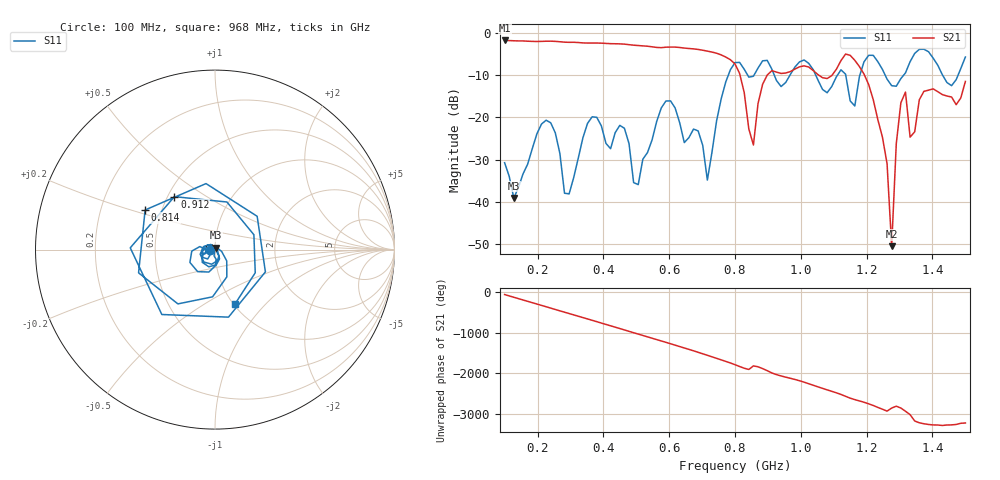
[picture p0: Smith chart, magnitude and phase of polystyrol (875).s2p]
! NanoVNA-App
! Date: 2025-09-25 15:36:41
! Start: 100MHz Stop: 1,5GHz Points: 101
! S-Parameter data: F S11 S21 S12 S22
# Hz S RI R 50
!  Frequency  S11_Real  S11_Imag  S21_Real  S21_Imag  S12_Real  S12_Imag  S22_Real  S22_Imag
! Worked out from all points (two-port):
!   101 points, 100 MHz to 1.5 GHz, reference 50 ohm
!   highest |S21| = -1.80 dB at 100 MHz (marker M1); lowest = -50.4 dB at 1.276 GHz (marker M2)
!   |S21| within 3 dB of the highest: start of sweep to 743.1 MHz
!   lowest |S11| = -39.1 dB at 128 MHz (marker M3), VSWR 1.02, Z = 50.3 + j1.06 ohm
!   |S11| at or under -10 dB: start of sweep to 779.8 MHz; 1.045 GHz to 1.111 GHz (66.07 MHz wide, 6.13 % of centre); 1.256 GHz to 1.312 GHz (56.16 MHz wide, 4.37 % of centre) (the widest 3 of 7)
!   S12 and S22 are empty: the file has one direction only
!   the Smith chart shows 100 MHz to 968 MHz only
!   S11 on the Smith chart (normalised r, x): 100 MHz: 0.94, -0.01; 814 MHz: 0.40, +0.22; 912 MHz: 0.54, +0.37; 968 MHz: 1.02, -0.69
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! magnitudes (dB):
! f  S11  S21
! 100 MHz  -30.7  -1.8
! 128 MHz  -39.1  -1.9
! 212 MHz  -21.6  -2.0
! 282 MHz  -37.9  -2.2
! 338 MHz  -24.8  -2.4
! 506 MHz  -35.9  -3.0
! 576 MHz  -17.8  -3.5
! 716 MHz  -34.8  -4.3
! 800 MHz  -7.0  -7.4
! 814 MHz  -7.0  -9.6
! 856 MHz  -10.3  -26.5
! 912 MHz  -8.6  -8.9
! 968 MHz  -9.9  -9.2
! 1.038 GHz  -8.7  -8.9
! 1.164 GHz  -17.3  -6.5
! 1.206 GHz  -5.3  -12.2
! 1.262 GHz  -10.9  -30.9
! 1.276 GHz  -12.5  -50.4
! 1.29 GHz  -12.6  -26.2
! 1.318 GHz  -9.5  -14.0
! 1.332 GHz  -6.8  -24.7
! 1.5 GHz  -5.7  -11.5
